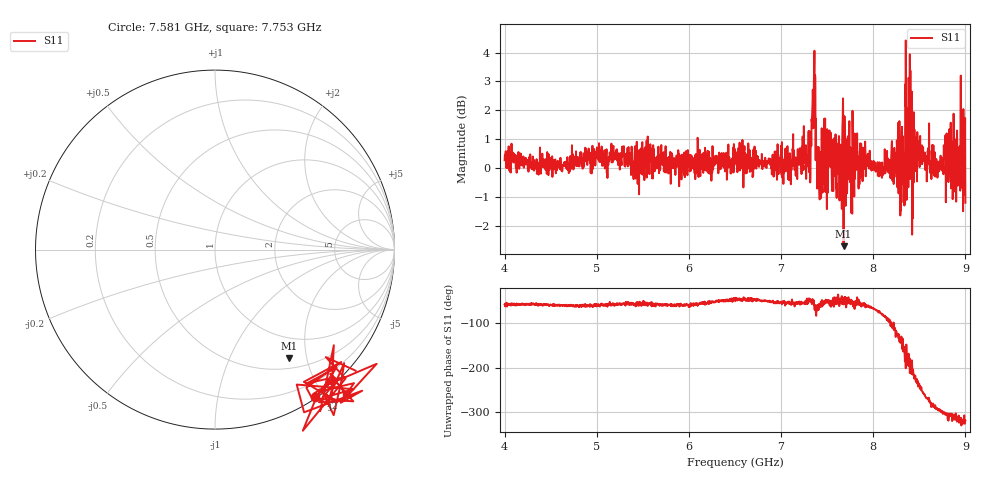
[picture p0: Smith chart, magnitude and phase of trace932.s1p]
! Created with skrf 1.8.0 (http://scikit-rf.org).
# Hz S RI R 50.0
!freq ReS11 ImS11
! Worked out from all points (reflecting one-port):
!   1601 points, 4 GHz to 9 GHz, reference 50 ohm
!   lowest |S11| = -2.7 dB at 7.678 GHz (marker M1), VSWR 6.48, Z = 32.7 - j85.3 ohm
!   phase of S11 starts at -58 deg and turns -262 deg over the sweep
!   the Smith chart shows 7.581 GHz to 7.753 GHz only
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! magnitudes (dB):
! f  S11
! 4 GHz  0.3
! 4.625 GHz  -0.1
! 5.25 GHz  -0.1
! 5.875 GHz  0.1
! 6.5 GHz  0.1
! 7.125 GHz  0.7
! 7.297 GHz  1.2
! 7.347 GHz  2.3
! 7.362 GHz  4.1
! 7.4 GHz  -0.3
! 7.412 GHz  -0.5
! 7.538 GHz  1.2
! 7.591 GHz  1.2
! 7.678 GHz  -2.7
! 7.75 GHz  -0.5
! 7.8 GHz  -0.4
! 8.097 GHz  0.2
! 8.259 GHz  0.7
! 8.319 GHz  1.1
! 8.331 GHz  0.4
! 8.356 GHz  2.5
! 8.375 GHz  -0.5
! 8.447 GHz  1.3
! 8.459 GHz  -0.1
! 8.875 GHz  -0.3
! 8.956 GHz  0.0
! 8.972 GHz  0.7
! 9 GHz  -1.2
